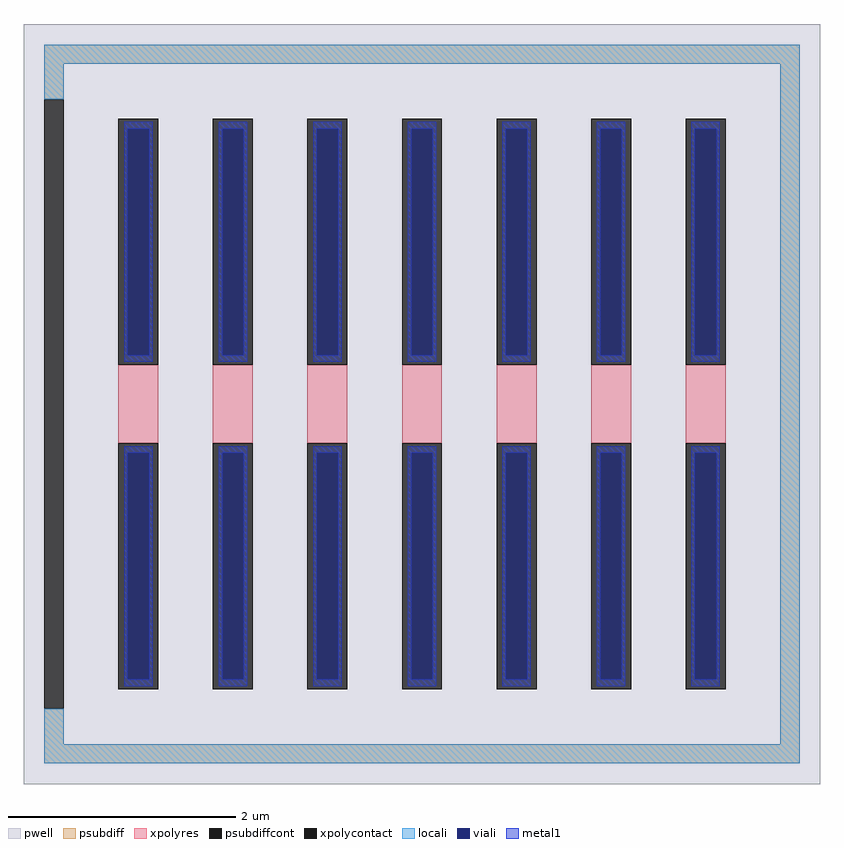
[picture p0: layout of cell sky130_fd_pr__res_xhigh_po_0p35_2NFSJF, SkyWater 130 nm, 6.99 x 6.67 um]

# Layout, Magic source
magic
tech sky130A
magscale 1 2
<< pwell >>
rect -699 -667 699 667
<< psubdiff >>
rect -663 597 663 631
rect -663 535 -629 597
rect -663 -597 -629 -535
rect 629 -597 663 597
rect -663 -631 663 -597
<< psubdiffcont >>
rect -663 -535 -629 535
<< xpolycontact >>
rect -533 69 -463 501
rect -533 -501 -463 -69
rect -367 69 -297 501
rect -367 -501 -297 -69
rect -201 69 -131 501
rect -201 -501 -131 -69
rect -35 69 35 501
rect -35 -501 35 -69
rect 131 69 201 501
rect 131 -501 201 -69
rect 297 69 367 501
rect 297 -501 367 -69
rect 463 69 533 501
rect 463 -501 533 -69
<< xpolyres >>
rect -533 -69 -463 69
rect -367 -69 -297 69
rect -201 -69 -131 69
rect -35 -69 35 69
rect 131 -69 201 69
rect 297 -69 367 69
rect 463 -69 533 69
<< locali >>
rect -663 597 663 631
rect -663 535 -629 597
rect -663 -597 -629 -535
rect 629 -597 663 597
rect -663 -631 663 -597
<< viali >>
rect -517 86 -479 483
rect -351 86 -313 483
rect -185 86 -147 483
rect -19 86 19 483
rect 147 86 185 483
rect 313 86 351 483
rect 479 86 517 483
rect -517 -483 -479 -86
rect -351 -483 -313 -86
rect -185 -483 -147 -86
rect -19 -483 19 -86
rect 147 -483 185 -86
rect 313 -483 351 -86
rect 479 -483 517 -86
<< metal1 >>
rect -523 483 -473 495
rect -523 86 -517 483
rect -479 86 -473 483
rect -523 74 -473 86
rect -357 483 -307 495
rect -357 86 -351 483
rect -313 86 -307 483
rect -357 74 -307 86
rect -191 483 -141 495
rect -191 86 -185 483
rect -147 86 -141 483
rect -191 74 -141 86
rect -25 483 25 495
rect -25 86 -19 483
rect 19 86 25 483
rect -25 74 25 86
rect 141 483 191 495
rect 141 86 147 483
rect 185 86 191 483
rect 141 74 191 86
rect 307 483 357 495
rect 307 86 313 483
rect 351 86 357 483
rect 307 74 357 86
rect 473 483 523 495
rect 473 86 479 483
rect 517 86 523 483
rect 473 74 523 86
rect -523 -86 -473 -74
rect -523 -483 -517 -86
rect -479 -483 -473 -86
rect -523 -495 -473 -483
rect -357 -86 -307 -74
rect -357 -483 -351 -86
rect -313 -483 -307 -86
rect -357 -495 -307 -483
rect -191 -86 -141 -74
rect -191 -483 -185 -86
rect -147 -483 -141 -86
rect -191 -495 -141 -483
rect -25 -86 25 -74
rect -25 -483 -19 -86
rect 19 -483 25 -86
rect -25 -495 25 -483
rect 141 -86 191 -74
rect 141 -483 147 -86
rect 185 -483 191 -86
rect 141 -495 191 -483
rect 307 -86 357 -74
rect 307 -483 313 -86
rect 351 -483 357 -86
rect 307 -495 357 -483
rect 473 -86 523 -74
rect 473 -483 479 -86
rect 517 -483 523 -86
rect 473 -495 523 -483
<< properties >>
string FIXED_BBOX -646 -614 646 614
string gencell sky130_fd_pr__res_xhigh_po_0p35
string library sky130
string parameters w 0.350 l 0.85 m 1 nx 7 wmin 0.350 lmin 0.50 rho 2000 val 5.932k dummy 0 dw 0.0 term 188.2 sterm 0.0 caplen 0 wmax 0.350 guard 1 glc 1 grc 0 gtc 0 gbc 0 compatible {sky130_fd_pr__res_xhigh_po_0p35  sky130_fd_pr__res_xhigh_po_0p69 sky130_fd_pr__res_xhigh_po_1p41  sky130_fd_pr__res_xhigh_po_2p85 sky130_fd_pr__res_xhigh_po_5p73} snake 0 full_metal 1 n_guard 0 hv_guard 0 vias 1 viagb 0 viagt 0 viagl 0 viagr 0
<< end >>
